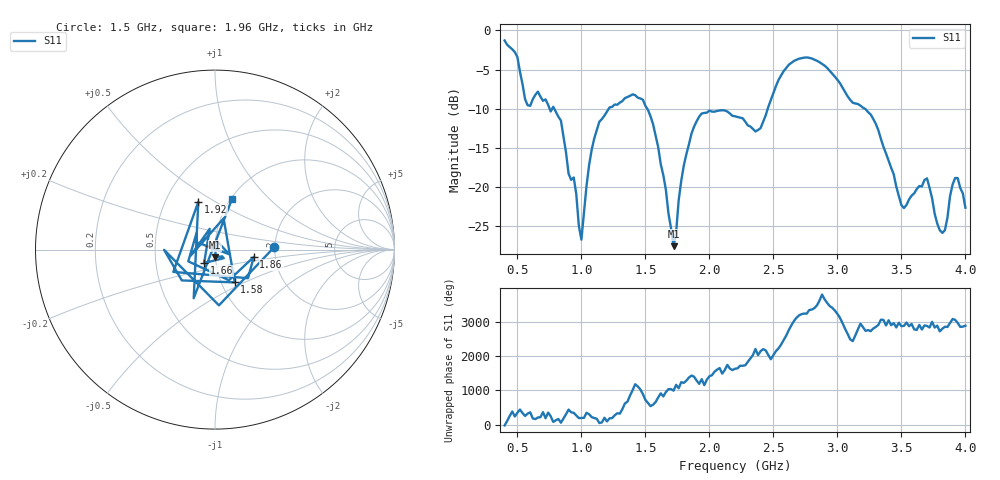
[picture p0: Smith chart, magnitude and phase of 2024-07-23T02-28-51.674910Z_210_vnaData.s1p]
!Created with skrf (http://scikit-rf.org).
# Hz S RI R 50.0
!freq ReS11 ImS11
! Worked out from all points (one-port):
!   181 points, 400 MHz to 4 GHz, reference 50 ohm
!   lowest |S11| = -27.5 dB at 1.72 GHz (marker M1), VSWR 1.09, Z = 49.9 - j4.21 ohm
!   |S11| at or under -10 dB: 788.3 MHz to 1.213 GHz (424.6 MHz wide, 42.4 % of centre); 1.515 GHz to 2.455 GHz (940.5 MHz wide, 47.4 % of centre); 3.217 GHz to end of sweep (the widest 3 of 4)
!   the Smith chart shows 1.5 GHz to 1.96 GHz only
!   S11 on the Smith chart (normalised r, x): 1.5 GHz: 1.99, +0.06; 1.58 GHz: 1.16, -0.44; 1.66 GHz: 0.88, -0.13; 1.86 GHz: 1.54, -0.13; 1.92 GHz: 0.73, +0.42; 1.96 GHz: 1.01, +0.63
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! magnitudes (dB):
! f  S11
! 400 MHz  -1.3
! 500 MHz  -3.4
! 580 MHz  -9.5
! 660 MHz  -7.8
! 860 MHz  -13.6
! 940 MHz  -18.7
! 1 GHz  -26.7
! 1.1 GHz  -13.8
! 1.3 GHz  -9.2
! 1.5 GHz  -9.6
! 1.58 GHz  -13.4
! 1.66 GHz  -20.3
! 1.72 GHz  -27.5
! 1.76 GHz  -21.6
! 1.86 GHz  -13.2
! 1.92 GHz  -11.0
! 1.96 GHz  -10.5
! 2.2 GHz  -10.9
! 2.4 GHz  -12.5
! 2.66 GHz  -3.9
! 3.1 GHz  -8.8
! 3.26 GHz  -10.7
! 3.5 GHz  -22.3
! 3.56 GHz  -21.5
! 3.7 GHz  -18.9
! 3.82 GHz  -25.8
! 3.92 GHz  -18.8
! 4 GHz  -22.6
